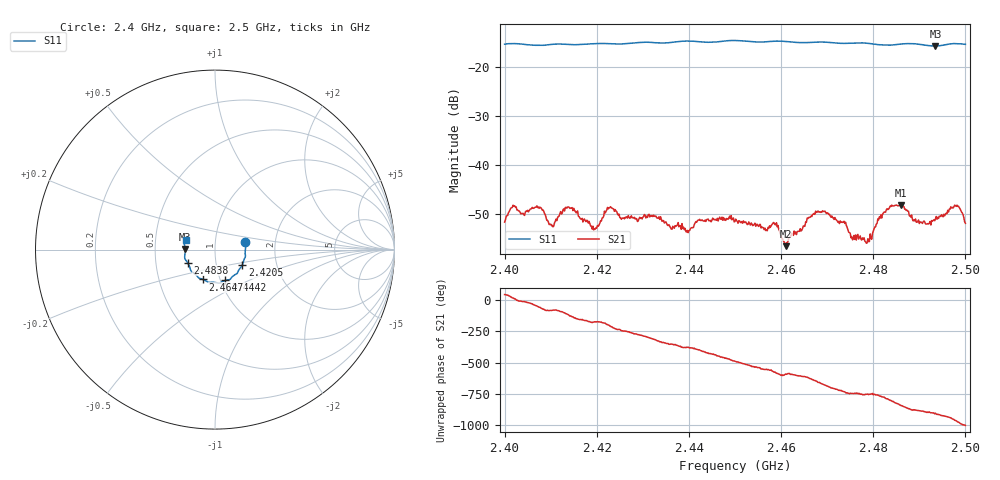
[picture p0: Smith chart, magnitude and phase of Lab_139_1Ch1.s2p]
# Hz S RI R 50
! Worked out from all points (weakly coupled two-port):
!   601 points, 2.4 GHz to 2.5 GHz, reference 50 ohm
!   highest |S21| = -48.17 dB at 2.486 GHz (marker M1); lowest = -56.6 dB at 2.461 GHz (marker M2)
!   lowest |S11| = -15.6 dB at 2.4935 GHz (marker M3), VSWR 1.40, Z = 35.8 + j0.147 ohm
!   |S11| at or under -10 dB: start of sweep to end of sweep
!   S12 and S22 are empty: the file has one direction only
!   S11 on the Smith chart (normalised r, x): 2.4 GHz: 1.40, +0.11; 2.4205 GHz: 1.33, -0.24; 2.4442 GHz: 1.05, -0.37; 2.4647 GHz: 0.83, -0.29; 2.4838 GHz: 0.73, -0.11; 2.5 GHz: 0.71, +0.08
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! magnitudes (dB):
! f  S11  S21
! 2.4 GHz  -15.2  -51.7
! 2.402 GHz  -15.1  -48.4
! 2.4075 GHz  -15.5  -48.9
! 2.4102 GHz  -15.3  -52.4
! 2.4137 GHz  -15.3  -48.6
! 2.4167 GHz  -15.3  -51.1
! 2.4205 GHz  -15.1  -52.3
! 2.4228 GHz  -15.1  -48.7
! 2.4333 GHz  -15.0  -50.9
! 2.4442 GHz  -14.9  -51.1
! 2.45 GHz  -14.5  -51.6
! 2.4588 GHz  -14.6  -52.2
! 2.461 GHz  -14.7  -56.6
! 2.4647 GHz  -14.9  -53.0
! 2.4667 GHz  -14.9  -50.5
! 2.4787 GHz  -15.1  -55.9
! 2.4833 GHz  -15.4  -49.0
! 2.4838 GHz  -15.4  -48.5
! 2.486 GHz  -15.2  -48.2
! 2.4935 GHz  -15.6  -51.0
! 2.498 GHz  -15.1  -48.5
! 2.5 GHz  -15.3  -51.9
